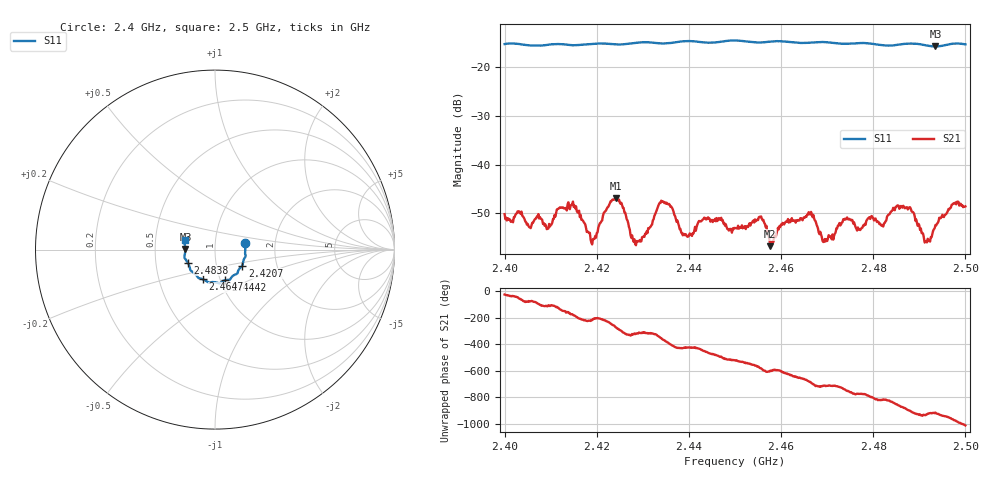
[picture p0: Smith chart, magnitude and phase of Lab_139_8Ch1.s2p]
# Hz S RI R 50
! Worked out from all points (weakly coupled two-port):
!   601 points, 2.4 GHz to 2.5 GHz, reference 50 ohm
!   highest |S21| = -46.98 dB at 2.4242 GHz (marker M1); lowest = -56.8 dB at 2.4577 GHz (marker M2)
!   lowest |S11| = -15.7 dB at 2.4935 GHz (marker M3), VSWR 1.39, Z = 35.9 + j0.152 ohm
!   |S11| at or under -10 dB: start of sweep to end of sweep
!   S12 and S22 are empty: the file has one direction only
!   S11 on the Smith chart (normalised r, x): 2.4 GHz: 1.40, +0.11; 2.4207 GHz: 1.33, -0.24; 2.4442 GHz: 1.05, -0.37; 2.4647 GHz: 0.83, -0.28; 2.4838 GHz: 0.73, -0.11; 2.5 GHz: 0.71, +0.08
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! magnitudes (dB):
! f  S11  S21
! 2.4 GHz  -15.2  -50.2
! 2.4167 GHz  -15.3  -51.4
! 2.4192 GHz  -15.1  -55.4
! 2.4207 GHz  -15.1  -52.1
! 2.4242 GHz  -15.2  -47.0
! 2.4285 GHz  -14.9  -56.6
! 2.4333 GHz  -15.0  -48.5
! 2.4395 GHz  -14.6  -54.6
! 2.4442 GHz  -14.9  -50.9
! 2.45 GHz  -14.4  -53.1
! 2.4557 GHz  -14.8  -50.7
! 2.4577 GHz  -14.7  -56.8
! 2.4647 GHz  -15.0  -51.5
! 2.4667 GHz  -14.9  -50.2
! 2.4695 GHz  -14.8  -55.3
! 2.474 GHz  -15.1  -51.3
! 2.4833 GHz  -15.5  -50.3
! 2.4838 GHz  -15.5  -49.7
! 2.4882 GHz  -15.1  -49.2
! 2.4917 GHz  -15.5  -56.0
! 2.4935 GHz  -15.7  -52.5
! 2.5 GHz  -15.2  -48.6
